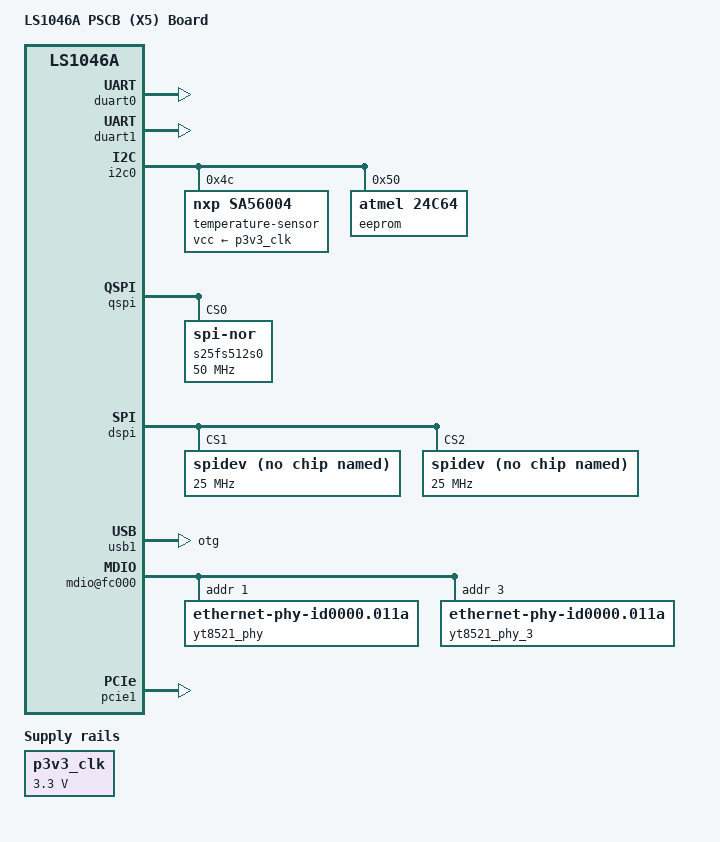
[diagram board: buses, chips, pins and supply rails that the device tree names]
// SPDX-License-Identifier: (GPL-2.0+ OR MIT)
/*
 * Device Tree Include file for Freescale Layerscape-1046A family SoC.
 *
 * Copyright 2016 Freescale Semiconductor, Inc.
 * Copyright 2019-2020 NXP
 *
 * Mingkai Hu <mingkai.hu@nxp.com>
 */

/dts-v1/;

#include "fsl-ls1046a.dtsi"

/ {
	model = "LS1046A PSCB (X5) Board";
	compatible = "fsl,ls1046a-pscb", "fsl,ls1046a";

	aliases {
		serial0 = &duart0;
		serial1 = &duart1;
		serial2 = &duart2;
		serial3 = &duart3;
	};

	chosen {
		stdout-path = "serial0:115200n8";
	};

	p3v3_clk: fixedregulator_3v3 {
		compatible = "regulator-fixed";
		regulator-name = "fixed-supply";
		regulator-min-microvolt = <3300000>;
		regulator-max-microvolt = <3300000>;
	};
};

&duart0 {
	status = "okay";
};

&duart1 {
	status = "okay";
};

&esdhc {
	mmc-ddr-3_3v;
	cap-mmc-highspeed;
	mmc-hs200-1_8v;
	sd-uhs-sdr104;
	sd-uhs-sdr50;
	sd-uhs-sdr25;
	sd-uhs-sdr12;
};

&i2c0 {
	status = "okay";

	temperature-sensor@4c {
		compatible = "nxp,sa56004";
		reg = <0x4c>;
		vcc-supply = <&p3v3_clk>;
	};

	eeprom@50 {
		compatible = "atmel,24c64";
		reg = <0x50>;
	};
};

&i2c2 {
	status = "disabled";

};

&i2c3 {
	status = "disabled";
};

&ifc {
	status = "disabled";
};

&qspi {
	status = "okay";

	s25fs512s0: flash@0 {
		compatible = "jedec,spi-nor";
		#address-cells = <1>;
		#size-cells = <1>;
		spi-max-frequency = <50000000>;
		spi-rx-bus-width = <1>;
		spi-tx-bus-width = <1>;
		reg = <0>;
	};
};

&dspi {
	status = "okay";

	spidev@1 {
		compatible = "rohm,dh2228fv";
		reg = <1>;
		spi-max-frequency = <25000000>;
		fsl,spi-cs-sck-delay = <15>;
		fsl,spi-sck-cs-delay = <15>;
	};

	spidev@2 {
		compatible = "rohm,dh2228fv";
		reg = <2>;
		spi-max-frequency = <25000000>;
		fsl,spi-cs-sck-delay = <15>;
		fsl,spi-sck-cs-delay = <15>;
	};
};

&usb1 {
	dr_mode = "otg";
};

#include "fsl-ls1046-post.dtsi"

&fman0 {
	ethernet@e4000 {
		status = "disabled";
	};

	ethernet@e6000 {
		status = "disabled";
	};

	ethernet@e8000 {
		phy-handle = <&yt8521_phy_3>;
		phy-connection-type = "sgmii";
	};

	ethernet@ea000 {
		phy-handle = <&yt8521_phy>;
		phy-connection-type = "sgmii";
		local-mac-address = [00 01 02 03 04 05];
	};

	ethernet@f0000 {
		fixed-link = <0 1 10000 0 0>;
		phy-connection-type = "xgmii";
	};

	ethernet@f2000 { /* 10GEC2 */
		fixed-link = <0 1 10000 0 0>;
		phy-connection-type = "xgmii";
	};

	mdio@fc000 {
		yt8521_phy: ethernet-phy@1 {
			/* MotorComm YT8521 */
			compatible = "ethernet-phy-id0000.011a", "ethernet-phy-ieee802.3-c22";
			reg = <0x1>;
		};
		yt8521_phy_3: ethernet-phy@3 {
			/* MotorComm YT8521 */
			compatible = "ethernet-phy-id0000.011a", "ethernet-phy-ieee802.3-c22";
			reg = <0x3>;
		};
	};

	mdio@fd000 {
		status = "disabled";
	};
};

&pcie1{
	status = "okay";
};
